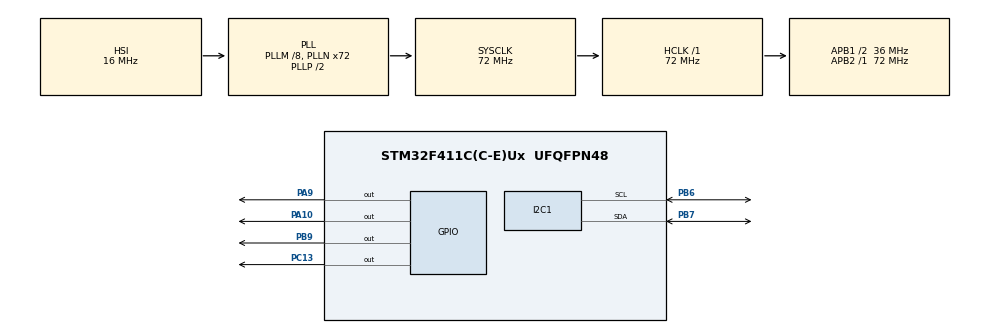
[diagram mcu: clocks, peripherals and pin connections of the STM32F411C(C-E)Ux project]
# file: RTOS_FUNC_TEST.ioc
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FREERTOS.Tasks01=Temp_High,24,128,Temp_HIGH,Default,NULL,Dynamic,NULL,NULL;Temp_Check,16,128,Temp_CHECK,Default,NULL,Dynamic,NULL,NULL;LCD_Display,17,128,LCD_DISPLAY,Default,NULL,Dynamic,NULL,NULL
FREERTOS.configUSE_NEWLIB_REENTRANT=1
Mcu.Family=STM32F4
Mcu.Name=STM32F411C(C-E)Ux
Mcu.Package=UFQFPN48
NVIC.PriorityGroup=NVIC_PRIORITYGROUP_4
NVIC.TIM4_IRQn=true\:15\:0\:false\:false\:true\:false\:false\:true\:true
NVIC.TimeBase=TIM4_IRQn
NVIC.TimeBaseIP=TIM4
PA10.Signal=GPIO_Output
PA13.Mode=Serial_Wire
PA13.Signal=SYS_JTMS-SWDIO
PA14.Mode=Serial_Wire
PA14.Signal=SYS_JTCK-SWCLK
PA9.Signal=GPIO_Output
PB6.Mode=I2C
PB6.Signal=I2C1_SCL
PB7.Mode=I2C
PB7.Signal=I2C1_SDA
PB9.Signal=GPIO_Output
PC13-ANTI_TAMP.Signal=GPIO_Output
ProjectManager.HeapSize=0x200
ProjectManager.StackSize=0x400
ProjectManager.TargetToolchain=STM32CubeIDE
RCC.48MHZClocksFreq_Value=36000000
RCC.AHBFreq_Value=72000000
RCC.APB1CLKDivider=RCC_HCLK_DIV2
RCC.APB1Freq_Value=36000000
RCC.APB1TimFreq_Value=72000000
RCC.APB2Freq_Value=72000000
RCC.APB2TimFreq_Value=72000000
RCC.CortexFreq_Value=72000000
RCC.HCLKFreq_Value=72000000
RCC.HSE_VALUE=25000000
RCC.HSI_VALUE=16000000
RCC.LSE_VALUE=32768
RCC.PLLM=8
RCC.PLLN=72
RCC.SYSCLKFreq_VALUE=72000000
RCC.SYSCLKSource=RCC_SYSCLKSOURCE_PLLCLK
RCC.VCOOutputFreq_Value=144000000
VP_FREERTOS_VS_CMSIS_V2.Mode=CMSIS_V2
VP_SYS_VS_tim4.Mode=TIM4
board=custom

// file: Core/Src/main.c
/* USER CODE BEGIN Header */
/**
  ******************************************************************************
  * @file           : main.c
  * @brief          : Main program body
  ******************************************************************************
  * @attention
  *
  * Copyright (c) 2022 STMicroelectronics.
  * All rights reserved.
  *
  * This software is licensed under terms that can be found in the LICENSE file
  * in the root directory of this software component.
  * If no LICENSE file comes with this software, it is provided AS-IS.
  *
  ******************************************************************************
  */
/* USER CODE END Header */
#include "main.h"
#include "cmsis_os.h"

 I2C_HandleTypeDef hi2c1;

/* Definitions for Temp_High */
osThreadId_t Temp_HighHandle;
const osThreadAttr_t Temp_High_attributes = {
  .name = "Temp_High",
  .stack_size = 128 * 4,
  .priority = (osPriority_t) osPriorityNormal,
};
/* Definitions for Temp_Check */
osThreadId_t Temp_CheckHandle;
const osThreadAttr_t Temp_Check_attributes = {
  .name = "Temp_Check",
  .stack_size = 128 * 4,
  .priority = (osPriority_t) osPriorityBelowNormal,
};
/* Definitions for LCD_Display */
osThreadId_t LCD_DisplayHandle;
const osThreadAttr_t LCD_Display_attributes = {
  .name = "LCD_Display",
  .stack_size = 128 * 4,
  .priority = (osPriority_t) osPriorityBelowNormal1,
};

void SystemClock_Config(void);
static void MX_GPIO_Init(void);
static void MX_I2C1_Init(void);
void Temp_HIGH(void *argument);
void Temp_CHECK(void *argument);
void LCD_DISPLAY(void *argument);

int main(void)
{

  /* MCU Configuration--------------------------------------------------------*/

  /* Reset of all peripherals, Initializes the Flash interface and the Systick. */
  HAL_Init();

  /* Configure the system clock */
  SystemClock_Config();

  /* Initialize all configured peripherals */
  MX_GPIO_Init();
  MX_I2C1_Init();

  /* Init scheduler */
  osKernelInitialize();

  /* Create the thread(s) */
  /* creation of Temp_High */
  Temp_HighHandle = osThreadNew(Temp_HIGH, NULL, &Temp_High_attributes);

  /* creation of Temp_Check */
  Temp_CheckHandle = osThreadNew(Temp_CHECK, NULL, &Temp_Check_attributes);

  /* creation of LCD_Display */
  LCD_DisplayHandle = osThreadNew(LCD_DISPLAY, NULL, &LCD_Display_attributes);

  /* Start scheduler */
  osKernelStart();

  /* We should never get here as control is now taken by the scheduler */
  /* Infinite loop */
  while (1)
  {

  }
}

void SystemClock_Config(void)
{
  RCC_OscInitTypeDef RCC_OscInitStruct = {0};
  RCC_ClkInitTypeDef RCC_ClkInitStruct = {0};

  /** Configure the main internal regulator output voltage
  */
  __HAL_RCC_PWR_CLK_ENABLE();
  __HAL_PWR_VOLTAGESCALING_CONFIG(PWR_REGULATOR_VOLTAGE_SCALE1);

  /** Initializes the RCC Oscillators according to the specified parameters
  * in the RCC_OscInitTypeDef structure.
  */
  RCC_OscInitStruct.OscillatorType = RCC_OSCILLATORTYPE_HSI;
  RCC_OscInitStruct.HSIState = RCC_HSI_ON;
  RCC_OscInitStruct.HSICalibrationValue = RCC_HSICALIBRATION_DEFAULT;
  RCC_OscInitStruct.PLL.PLLState = RCC_PLL_ON;
  RCC_OscInitStruct.PLL.PLLSource = RCC_PLLSOURCE_HSI;
  RCC_OscInitStruct.PLL.PLLM = 8;
  RCC_OscInitStruct.PLL.PLLN = 72;
  RCC_OscInitStruct.PLL.PLLP = RCC_PLLP_DIV2;
  RCC_OscInitStruct.PLL.PLLQ = 4;
  if (HAL_RCC_OscConfig(&RCC_OscInitStruct) != HAL_OK)
  {
    Error_Handler();
  }

  /** Initializes the CPU, AHB and APB buses clocks
  */
  RCC_ClkInitStruct.ClockType = RCC_CLOCKTYPE_HCLK|RCC_CLOCKTYPE_SYSCLK
                              |RCC_CLOCKTYPE_PCLK1|RCC_CLOCKTYPE_PCLK2;
  RCC_ClkInitStruct.SYSCLKSource = RCC_SYSCLKSOURCE_PLLCLK;
  RCC_ClkInitStruct.AHBCLKDivider = RCC_SYSCLK_DIV1;
  RCC_ClkInitStruct.APB1CLKDivider = RCC_HCLK_DIV2;
  RCC_ClkInitStruct.APB2CLKDivider = RCC_HCLK_DIV1;

  if (HAL_RCC_ClockConfig(&RCC_ClkInitStruct, FLASH_LATENCY_2) != HAL_OK)
  {
    Error_Handler();
  }
}

static void MX_I2C1_Init(void)
{

  hi2c1.Instance = I2C1;
  hi2c1.Init.ClockSpeed = 100000;
  hi2c1.Init.DutyCycle = I2C_DUTYCYCLE_2;
  hi2c1.Init.OwnAddress1 = 0;
  hi2c1.Init.AddressingMode = I2C_ADDRESSINGMODE_7BIT;
  hi2c1.Init.DualAddressMode = I2C_DUALADDRESS_DISABLE;
  hi2c1.Init.OwnAddress2 = 0;
  hi2c1.Init.GeneralCallMode = I2C_GENERALCALL_DISABLE;
  hi2c1.Init.NoStretchMode = I2C_NOSTRETCH_DISABLE;
  if (HAL_I2C_Init(&hi2c1) != HAL_OK)
  {
    Error_Handler();
  }

}

static void MX_GPIO_Init(void)
{
  GPIO_InitTypeDef GPIO_InitStruct = {0};

  /* GPIO Ports Clock Enable */
  __HAL_RCC_GPIOC_CLK_ENABLE();
  __HAL_RCC_GPIOA_CLK_ENABLE();
  __HAL_RCC_GPIOB_CLK_ENABLE();

  /*Configure GPIO pin Output Level */
  HAL_GPIO_WritePin(GPIOC, GPIO_PIN_13, GPIO_PIN_RESET);

  /*Configure GPIO pin Output Level */
  HAL_GPIO_WritePin(GPIOA, GPIO_PIN_9|GPIO_PIN_10, GPIO_PIN_RESET);

  /*Configure GPIO pin Output Level */
  HAL_GPIO_WritePin(GPIOB, GPIO_PIN_9, GPIO_PIN_RESET);

  /*Configure GPIO pin : PC13 */
  GPIO_InitStruct.Pin = GPIO_PIN_13;
  GPIO_InitStruct.Mode = GPIO_MODE_OUTPUT_PP;
  GPIO_InitStruct.Pull = GPIO_NOPULL;
  GPIO_InitStruct.Speed = GPIO_SPEED_FREQ_LOW;
  HAL_GPIO_Init(GPIOC, &GPIO_InitStruct);

  /*Configure GPIO pins : PA9 PA10 */
  GPIO_InitStruct.Pin = GPIO_PIN_9|GPIO_PIN_10;
  GPIO_InitStruct.Mode = GPIO_MODE_OUTPUT_PP;
  GPIO_InitStruct.Pull = GPIO_NOPULL;
  GPIO_InitStruct.Speed = GPIO_SPEED_FREQ_LOW;
  HAL_GPIO_Init(GPIOA, &GPIO_InitStruct);

  /*Configure GPIO pin : PB9 */
  GPIO_InitStruct.Pin = GPIO_PIN_9;
  GPIO_InitStruct.Mode = GPIO_MODE_OUTPUT_PP;
  GPIO_InitStruct.Pull = GPIO_NOPULL;
  GPIO_InitStruct.Speed = GPIO_SPEED_FREQ_LOW;
  HAL_GPIO_Init(GPIOB, &GPIO_InitStruct);

}

void Temp_HIGH(void *argument)
{
  /* USER CODE BEGIN 5 */
  /* Infinite loop */
  for(;;)
  {
	  HAL_GPIO_TogglePin(GPIOA, GPIO_PIN_9);
	  osDelay(200);
	  HD44780_Clear();
	  HD44780_SetCursor(0,0);
	  HD44780_PrintStr("ADVANCED MICROP SYSTEM");
	  HD44780_SetCursor(8,1);
	  HD44780_PrintStr("IS FUN!!");
	  osDelay(2000);
  }
  osThreadTerminate(NULL);
  /* USER CODE END 5 */
}

void Temp_CHECK(void *argument)
{
  /* USER CODE BEGIN Temp_CHECK */
  /* Infinite loop */
  for(;;)
  {
	  HAL_GPIO_TogglePin(GPIOA, GPIO_PIN_9);
	  osDelay(200);
	  HD44780_Clear();
	  HD44780_SetCursor(0,0);
	  HD44780_PrintStr("ADVANCED MICROP SYSTEM");
	  HD44780_SetCursor(0,1);
	  HD44780_PrintStr("IS INTERESTING!");
	  osDelay(2000);
  }
  /* USER CODE END Temp_CHECK */
}

void LCD_DISPLAY(void *argument)
{
  /* USER CODE BEGIN LCD_DISPLAY */
  /* Infinite loop */
  for(;;)
  {
	  HD44780_Init(2);
	  HD44780_Clear();
	  HD44780_SetCursor(0,0);
	  HD44780_PrintStr("HELLO");
	  HD44780_SetCursor(10,1);
	  HD44780_PrintStr("WORLD");
	  osDelay(2000);
  }
  /* USER CODE END LCD_DISPLAY */
}

void HAL_TIM_PeriodElapsedCallback(TIM_HandleTypeDef *htim)
{
  if (htim->Instance == TIM4) {
    HAL_IncTick();
  }
}

void Error_Handler(void)
{
  __disable_irq();
  while (1)
  {
  }
}
